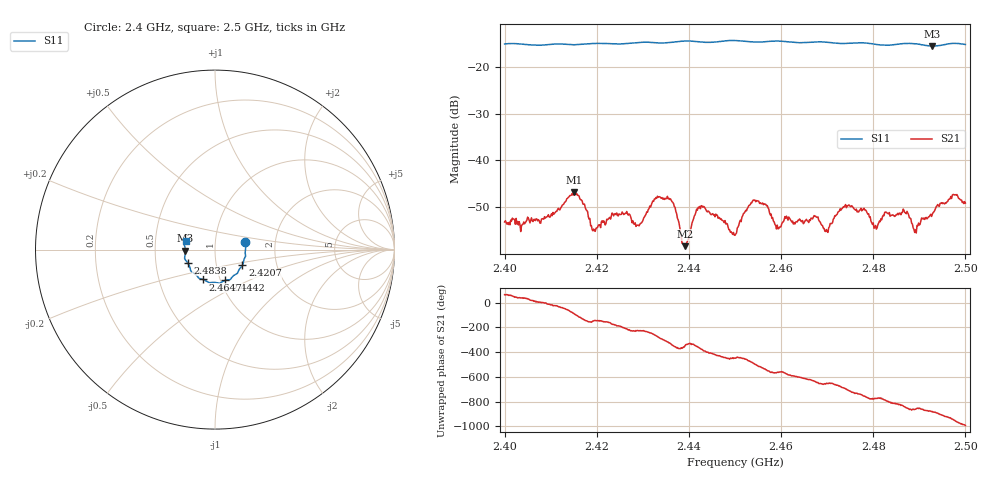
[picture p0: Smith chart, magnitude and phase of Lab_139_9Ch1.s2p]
# Hz S RI R 50
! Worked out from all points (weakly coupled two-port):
!   601 points, 2.4 GHz to 2.5 GHz, reference 50 ohm
!   highest |S21| = -46.81 dB at 2.4152 GHz (marker M1); lowest = -58.2 dB at 2.4392 GHz (marker M2)
!   lowest |S11| = -15.6 dB at 2.4928 GHz (marker M3), VSWR 1.40, Z = 35.8 - j0.435 ohm
!   |S11| at or under -10 dB: start of sweep to end of sweep
!   S12 and S22 are empty: the file has one direction only
!   S11 on the Smith chart (normalised r, x): 2.4 GHz: 1.40, +0.12; 2.4207 GHz: 1.34, -0.24; 2.4442 GHz: 1.05, -0.37; 2.4647 GHz: 0.83, -0.29; 2.4838 GHz: 0.73, -0.11; 2.5 GHz: 0.71, +0.07
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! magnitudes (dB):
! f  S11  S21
! 2.4 GHz  -15.2  -53.1
! 2.408 GHz  -15.4  -52.5
! 2.4152 GHz  -15.4  -46.8
! 2.4167 GHz  -15.3  -48.4
! 2.4192 GHz  -15.1  -55.0
! 2.4207 GHz  -15.1  -53.7
! 2.429 GHz  -14.9  -53.8
! 2.4333 GHz  -15.0  -47.8
! 2.4365 GHz  -14.8  -48.9
! 2.4392 GHz  -14.6  -58.2
! 2.4418 GHz  -14.7  -50.6
! 2.4442 GHz  -14.9  -50.8
! 2.45 GHz  -14.5  -55.9
! 2.4543 GHz  -14.8  -48.4
! 2.4593 GHz  -14.6  -54.5
! 2.4647 GHz  -14.9  -52.8
! 2.4667 GHz  -14.8  -52.3
! 2.4833 GHz  -15.5  -51.4
! 2.4838 GHz  -15.4  -51.7
! 2.4892 GHz  -15.1  -54.8
! 2.4928 GHz  -15.6  -51.4
! 2.5 GHz  -15.3  -49.1
